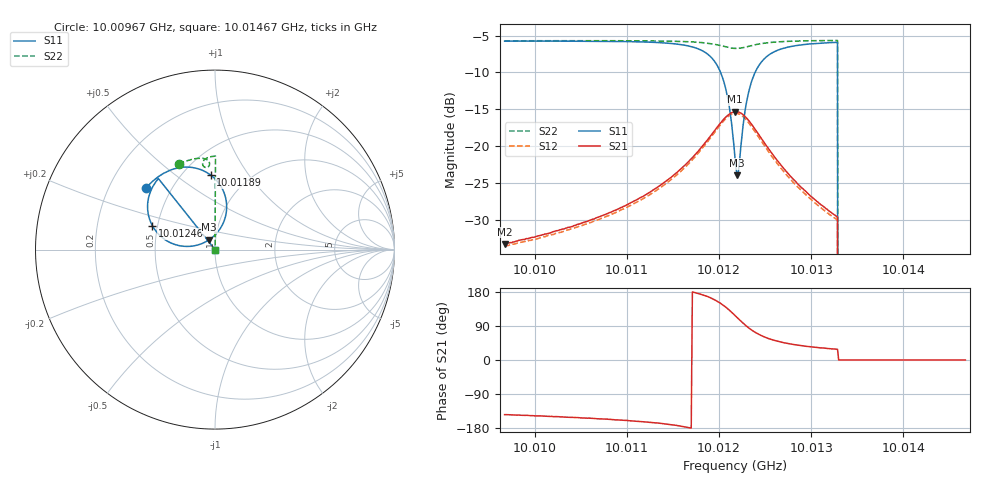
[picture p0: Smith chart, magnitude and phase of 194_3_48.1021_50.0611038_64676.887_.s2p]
#  HZ  S  RI  R  50.00
! Rohde & Schwarz Vector Network Analyzer
! Rohde-Schwarz,ZNB20-2Port,1311601062101988,3.16
! Created: UTC 12/23/2023, 3:54:05 AM
! freq[Hz]  re:S11  im:S11  re:S21  im:S21  re:S12  im:S12  re:S22  im:S22
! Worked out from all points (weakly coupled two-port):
!   401 points, 10.00967 GHz to 10.01467 GHz, reference 50 ohm
!   highest |S21| = -15.31 dB at 10.01217 GHz (marker M1); lowest = -33.2 dB at 10.00967 GHz (marker M2)
!   lowest |S11| = -23.9 dB at 10.0122 GHz (marker M3), VSWR 1.14, Z = 46.5 + j5.09 ohm
!   |S11| at or under -10 dB: 10.01202 GHz to 10.01239 GHz (374.8 kHz wide, 0.00374 % of centre); 10.01329 GHz to end of sweep
!   |S22| runs from - to -5.7 dB; largest |S21 - S12| = 0.0084
!   S11 on the Smith chart (normalised r, x): 10.00967 GHz: 0.36, +0.34; 10.01189 GHz: 0.68, +0.68; 10.01246 GHz: 0.47, +0.14; 10.01467 GHz: 1.00, +0.00
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1.0009671e10  -0.3829 0.3447  -0.0177 -0.0127  -0.0164 -0.0132  -0.2015 0.4774
1.0010509e10  -0.3277 0.397  -0.0268 -0.0138  -0.0251 -0.0146  -0.1488 0.4971
1.0010984e10  -0.2811 0.428  -0.0371 -0.014  -0.035 -0.0153  -0.1163 0.5052
1.0011347e10  -0.2249 0.4507  -0.0521 -0.0124  -0.0496 -0.0143  -0.0889 0.509
1.0011647e10  -0.1429 0.4592  -0.0764 -0.0035  -0.0733 -0.00755  -0.0627 0.5077
1.0011885e10  -0.0244 0.4155  -0.1096 0.0264  -0.1075 0.0201  -0.039 0.4965
1.0011985e10  0.0368 0.3458  -0.1223 0.0592  -0.122 0.0513  -0.0313 0.4848
1.001206e10  0.0646 0.2538  -0.1217 0.0955  -0.1233 0.0873  -0.0307 0.4722
1.0012123e10  0.0498 0.1571  -0.1049 0.1299  -0.1077 0.1226  -0.0365 0.4625
1.0012173e10  0.00188 0.0833  -0.079 0.1523  -0.083 0.1453  -0.045 0.4579
1.0012198e10  -0.033 0.0545  -0.0627 0.1593  -0.0672 0.1527  -0.0499 0.4572
1.0012223e10  -0.0727 0.0337  -0.0461 0.163  -0.05 0.157  -0.0548 0.4582
1.0012273e10  -0.1574 0.0176  -0.013 0.1606  -0.0176 0.1552  -0.063 0.4631
1.0012323e10  -0.2336 0.032  0.0146 0.1483  0.00881 0.1435  -0.0677 0.4709
1.0012385e10  -0.3022 0.0737  0.0367 0.1267  0.0311 0.1229  -0.069 0.4815
1.001246e10  -0.3486 0.1325  0.0489 0.1016  0.0434 0.0986  -0.0657 0.4918
1.0012698e10  -0.3736 0.27  0.0496 0.051  0.0449 0.0507  -0.0452 0.5102
1.0013011e10  -0.3439 0.3556  0.0372 0.0255  0.0342 0.026  -0.0184 0.5185
1.0013261e10  -0.3178 0.3927  0.0299 0.0164  0.0276 0.0171  0.000865 0.5208
1.0013324e10  0 0  0 0  0 0  0 0
1.0013849e10  0 0  0 0  0 0  0 0
1.0014674e10  0 0  0 0  0 0  0 0
